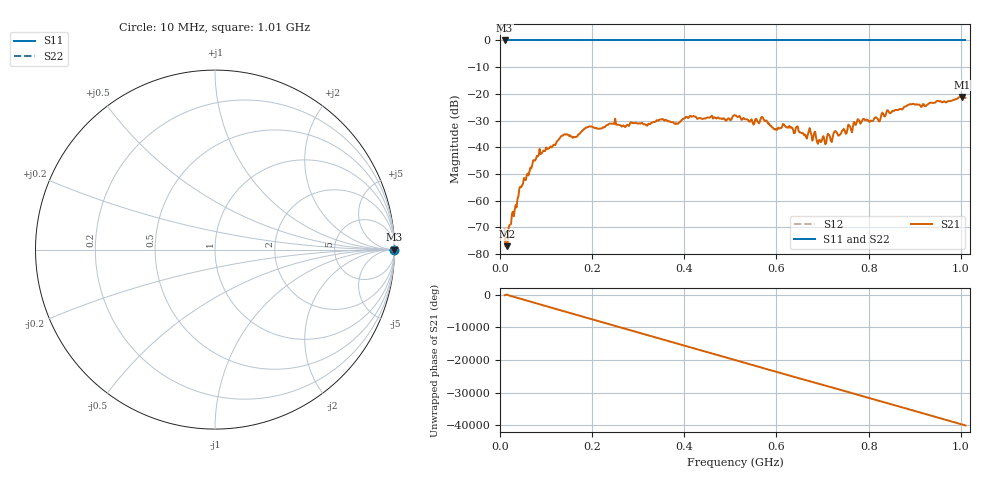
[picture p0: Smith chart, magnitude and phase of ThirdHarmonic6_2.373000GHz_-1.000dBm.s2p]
! 8/17/2025 3:43:46 AM
! C:\ANRITSUVNA\TEMP\TEMP.S2P
! CHANNEL.1
! TR.MEASUREMENT
! RAW.DATA
! RF.CORRECTION.OFF
! AVERAGING.OFF
! IF.BANDWIDTH: 5KHZ
! SWEEPTYPE:  FREQ.SWEEP(Linear)
! Reference Plane Port Info
! PORT:  PORT1  PORT2
! DISTANCE:  0  m  0  m
! TIME:  0  s  0  s
! PHASE.OFFSET:  0  deg.  0  deg.
! LOSS:  0  dB  0  dB
! REF.LOSS:  0  dB  0  dB
! REF.FREQ:  0  Hz  0  Hz
! Power Info
! POWER:  -20  dBm  -20  dBm
! EFF.POWER:  -20  dBm  -20  dBm
! SOURCE.ATTEN:  0  dB  0  dB
! TEST.ATTEN:  0  dB  0  dB
# GHZ S RI R 50.0
! FREQ.GHZ  S11RE  S11IM  S21RE  S21IM  S12RE  S12IM  S22RE  S22IM
!; PortSelection: Port_12
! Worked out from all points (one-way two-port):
!   501 points, 10 MHz to 1.01 GHz, reference 50 ohm
!   highest |S21| = -21.15 dB at 1.002 GHz (marker M1); lowest = -77.1 dB at 16 MHz (marker M2)
!   lowest |S11| = 0.0 dB at 10 MHz (marker M3)
!   |S11| at or under -10 dB: nowhere
!   |S22| runs from 0.0 to 0.0 dB; largest |S21 - S12| = 1.1
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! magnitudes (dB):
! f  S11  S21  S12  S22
! 10 MHz  0.0  -70.8  0.0  0.0
! 16 MHz  0.0  -77.1  0.0  0.0
! 44 MHz  0.0  -54.8  0.0  0.0
! 82 MHz  0.0  -43.4  0.0  0.0
! 136 MHz  0.0  -35.7  0.0  0.0
! 162 MHz  0.0  -36.2  0.0  0.0
! 178 MHz  0.0  -33.9  0.0  0.0
! 344 MHz  0.0  -29.9  0.0  0.0
! 382 MHz  0.0  -31.0  0.0  0.0
! 416 MHz  0.0  -28.6  0.0  0.0
! 510 MHz  0.0  -28.0  0.0  0.0
! 570 MHz  0.0  -28.8  0.0  0.0
! 598 MHz  0.0  -33.5  0.0  0.0
! 618 MHz  0.0  -32.0  0.0  0.0
! 678 MHz  0.0  -37.5  0.0  0.0
! 692 MHz  0.0  -37.4  0.0  0.0
! 718 MHz  0.0  -37.5  0.0  0.0
! 776 MHz  0.0  -29.5  0.0  0.0
! 822 MHz  0.0  -30.3  0.0  0.0
! 844 MHz  0.0  -26.8  0.0  0.0
! 1.002 GHz  0.0  -21.1  0.0  0.0
! 1.01 GHz  0.0  -21.5  0.0  0.0
